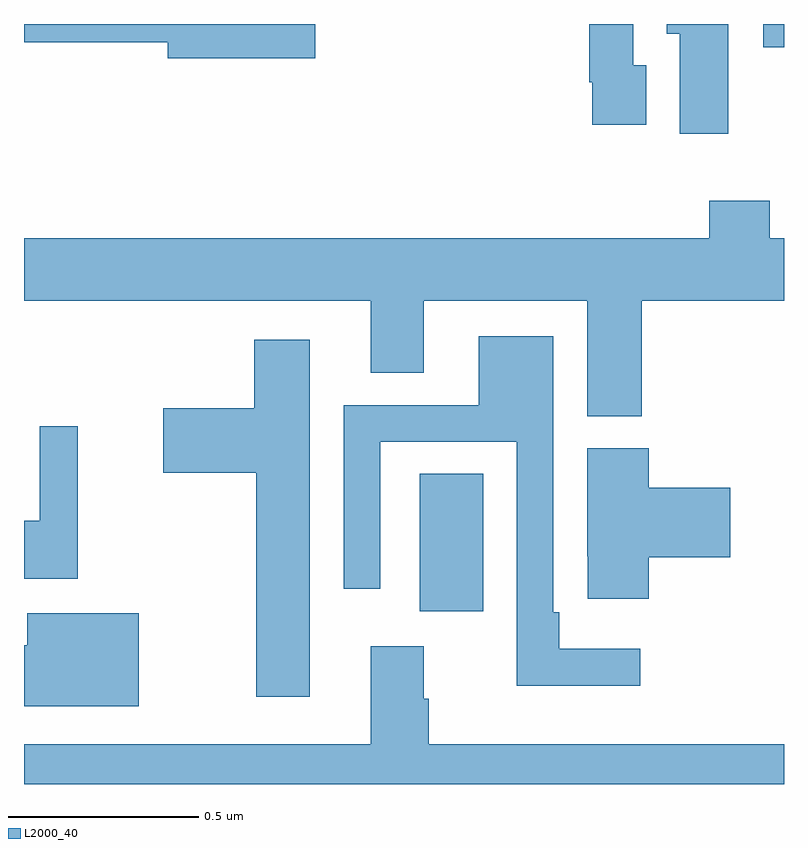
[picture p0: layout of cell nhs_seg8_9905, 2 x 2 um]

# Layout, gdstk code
import gdstk
lib = gdstk.Library(unit=1e-6, precision=1e-09)
def R(c, l, rs):  # rectangles x0, y0, x1, y1
    for r in rs: c.add(gdstk.rectangle(r[:2], r[2:], *l))
def P(c, l, *ps):  # polygons
    for p in ps: c.add(gdstk.Polygon(p, *l))
L2000_40 = (2000, 40)

nhs_seg8_9905 = lib.new_cell('nhs_seg8_9905')
R(nhs_seg8_9905, L2000_40, [(243.041,1110.354,243.208,1110.716), (243.945,1111.839,244,1111.9)])
P(nhs_seg8_9905, L2000_40, [(243.637,1111.791),(243.603,1111.791),(243.603,1111.9),(243.487,1111.9),(243.487,1111.747),(243.495,1111.747),(243.495,1111.635),(243.637,1111.635)],
  [(242.767,1111.9),(242,1111.9),(242,1111.852),(242.378,1111.852),(242.378,1111.81),(242.767,1111.81)],
  [(243.853,1111.9),(243.692,1111.9),(243.692,1111.874),(243.725,1111.874),(243.725,1111.611),(243.853,1111.611)],
  [(243.626,1111.172),(244,1111.172),(244,1111.336),(243.963,1111.336),(243.963,1111.435),(243.803,1111.435),(243.803,1111.336),(242,1111.336),(242,1111.172),(242.912,1111.172),(242.912,1110.982),(243.052,1110.982),(243.052,1111.172),(243.482,1111.172),(243.482,1110.868),(243.626,1110.868)],
  [(243.622,1110.256),(243.409,1110.256),(243.409,1110.352),(243.393,1110.352),(243.393,1111.078),(243.197,1111.078),(243.197,1110.897),(242.841,1110.897),(242.841,1110.414),(242.937,1110.414),(242.937,1110.801),(243.297,1110.801),(243.297,1110.158),(243.622,1110.158)],
  [(242.752,1111.069),(242.606,1111.069),(242.606,1110.889),(242.367,1110.889),(242.367,1110.719),(242.611,1110.719),(242.611,1110.129),(242.752,1110.129)],
  [(242.142,1110.841),(242.042,1110.841),(242.042,1110.593),(242,1110.593),(242,1110.44),(242.142,1110.44)],
  [(243.644,1110.497),(243.859,1110.497),(243.859,1110.68),(243.644,1110.68),(243.644,1110.783),(243.482,1110.783),(243.482,1110.499),(243.483,1110.499),(243.483,1110.387),(243.644,1110.387)],
  [(242.302,1110.349),(242.009,1110.349),(242.009,1110.265),(242,1110.265),(242,1110.104),(242.302,1110.104)],
  [(244,1110.004),(243.065,1110.004),(243.065,1110.125),(243.052,1110.125),(243.052,1110.262),(242.912,1110.262),(242.912,1110.004),(242,1110.004),(242,1109.9),(244,1109.9)])

lib.write_gds('nhs_seg8_9905.gds')
